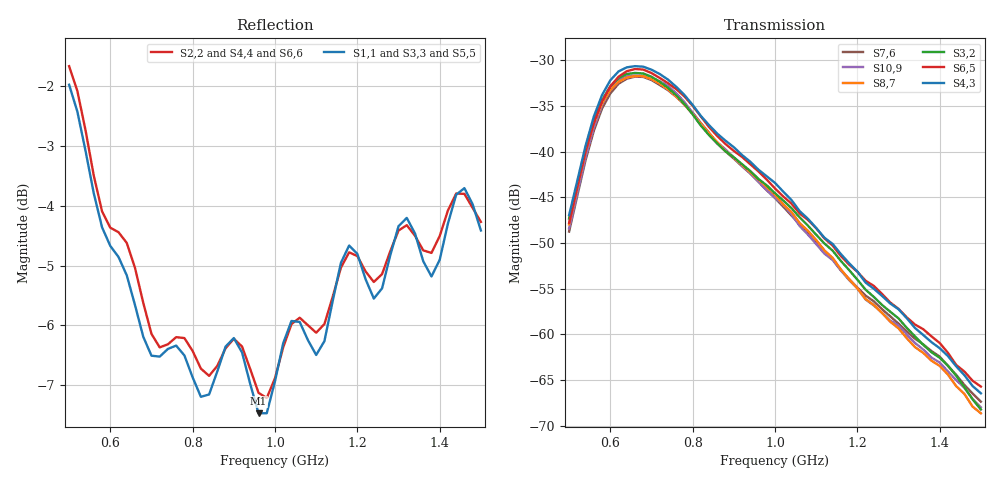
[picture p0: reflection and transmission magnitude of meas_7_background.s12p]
! Converted from meas_7_background.mat
! MATLAB 5.0 MAT-file, Platform: PCWIN64, Created on: Sat Nov 21 15:13:32 2026
! Ports 1-12 = antennas 1-12; IFBW=1000 Hz, power=0 dBm, doCalibration flag=0
! SW_A serial 12410080206: antennas 1 3 5 7 9 11
! SW_B serial 12410080235: antennas 2 4 6 8 10 12
! WARNING: Sij (i!=j) between two odd or two even ports was NOT MEASURED (NaN in source).
! Those entries are written as 0 0 placeholders. Do not treat them as data.
! Reference impedance 50 ohm is assumed (not stored in source).
# Hz S RI R 50
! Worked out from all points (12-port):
!   51 points, 500 MHz to 1.5 GHz, reference 50 ohm
!   strongest paths, dB at 500 MHz, 740 MHz, 1 GHz, 1.26 GHz, 1.5 GHz:
!     S4,3: -46.9, -32.1, -43.4, -55.8, -66.4
!     S6,5: -47.8, -32.5, -44.0, -55.6, -65.7
!     S3,2: -47.3, -33.0, -44.5, -56.8, -68.2
!     S8,7: -47.9, -33.2, -44.7, -57.6, -68.6
!     S10,9: -48.4, -32.8, -45.0, -57.6, -68.0
!     S7,6: -48.7, -33.2, -45.1, -57.2, -67.4
!   lowest |S11| = -7.5 dB at 960 MHz (marker M1), VSWR 2.47, Z = 24.3 - j20 ohm
!   |S11| at or under -10 dB: nowhere
